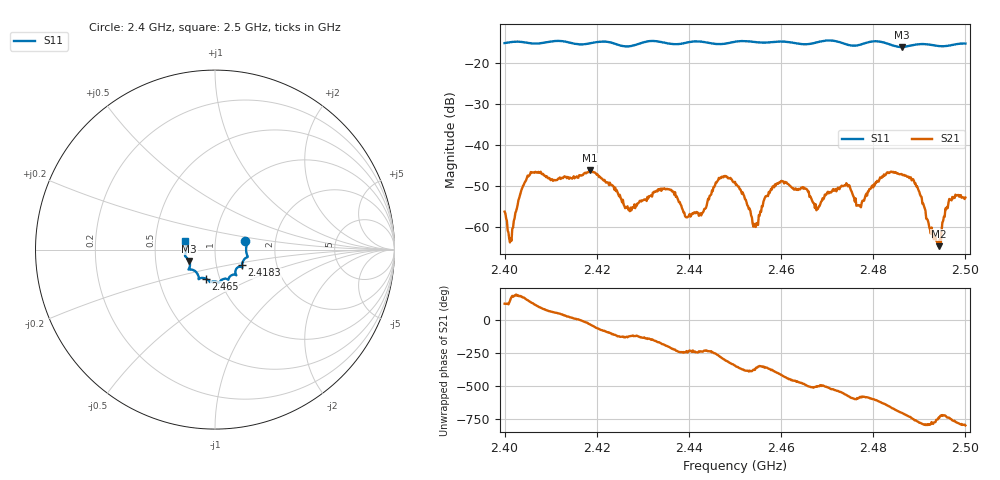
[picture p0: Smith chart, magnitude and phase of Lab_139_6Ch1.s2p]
# Hz S RI R 50
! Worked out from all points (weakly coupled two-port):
!   601 points, 2.4 GHz to 2.5 GHz, reference 50 ohm
!   highest |S21| = -46.04 dB at 2.4185 GHz (marker M1); lowest = -64.6 dB at 2.4942 GHz (marker M2)
!   lowest |S11| = -16.1 dB at 2.4862 GHz (marker M3), VSWR 1.37, Z = 37.2 - j4.84 ohm
!   |S11| at or under -10 dB: start of sweep to end of sweep
!   S12 and S22 are empty: the file has one direction only
!   S11 on the Smith chart (normalised r, x): 2.4 GHz: 1.40, +0.14; 2.4183 GHz: 1.33, -0.24; 2.465 GHz: 0.86, -0.29; 2.5 GHz: 0.71, +0.07
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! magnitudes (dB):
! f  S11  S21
! 2.4 GHz  -15.1  -56.1
! 2.4013 GHz  -14.9  -62.6
! 2.4062 GHz  -15.2  -46.6
! 2.4167 GHz  -15.4  -47.4
! 2.4183 GHz  -15.2  -46.3
! 2.4185 GHz  -15.2  -46.0
! 2.4267 GHz  -15.9  -54.9
! 2.4333 GHz  -14.7  -50.7
! 2.4398 GHz  -14.9  -57.4
! 2.45 GHz  -14.8  -48.9
! 2.4545 GHz  -14.9  -59.9
! 2.4587 GHz  -14.8  -49.5
! 2.465 GHz  -15.4  -50.3
! 2.4667 GHz  -15.2  -53.3
! 2.4743 GHz  -15.5  -49.6
! 2.4768 GHz  -15.6  -54.6
! 2.4833 GHz  -15.4  -46.7
! 2.4862 GHz  -16.1  -47.0
! 2.4892 GHz  -15.5  -49.2
! 2.4942 GHz  -15.8  -64.6
! 2.4968 GHz  -15.7  -53.3
! 2.5 GHz  -15.2  -52.7
